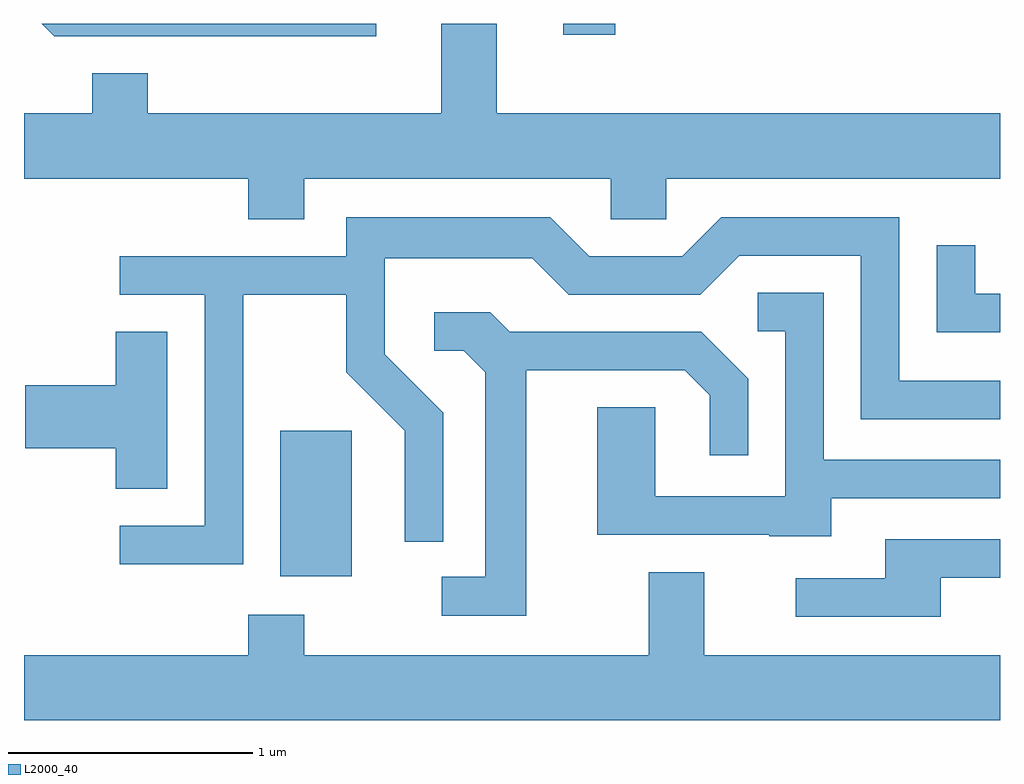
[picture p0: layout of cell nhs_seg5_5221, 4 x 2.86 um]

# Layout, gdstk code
import gdstk
lib = gdstk.Library(unit=1e-6, precision=1e-09)
def R(c, l, rs):  # rectangles x0, y0, x1, y1
    for r in rs: c.add(gdstk.rectangle(r[:2], r[2:], *l))
def P(c, l, *ps):  # polygons
    for p in ps: c.add(gdstk.Polygon(p, *l))
L2000_40 = (2000, 40)

nhs_seg5_5221 = lib.new_cell('nhs_seg5_5221')
R(nhs_seg5_5221, L2000_40, [(340.661,1481.806,340.954,1482.404), (341.821,1484.026,342.034,1484.072)])
P(nhs_seg5_5221, L2000_40, [(340.759,1483.436),(342.016,1483.436),(342.016,1483.271),(342.244,1483.271),(342.244,1483.436),(343.611,1483.436),(343.611,1483.704),(341.549,1483.704),(341.549,1484.072),(341.321,1484.072),(341.321,1483.704),(340.119,1483.704),(340.119,1483.869),(339.891,1483.869),(339.891,1483.704),(339.611,1483.704),(339.611,1483.436),(340.531,1483.436),(340.531,1483.271),(340.759,1483.271)],
  [(341.054,1484.072),(339.683,1484.072),(339.734,1484.021),(341.054,1484.021)],
  [(340.509,1482.961),(340.931,1482.961),(340.931,1482.644),(341.171,1482.404),(341.171,1481.948),(341.329,1481.948),(341.329,1482.477),(341.089,1482.717),(341.089,1483.111),(341.694,1483.111),(341.844,1482.961),(342.382,1482.961),(342.542,1483.121),(343.041,1483.121),(343.041,1482.451),(343.611,1482.451),(343.611,1482.609),(343.199,1482.609),(343.199,1483.279),(342.469,1483.279),(342.309,1483.119),(341.927,1483.119),(341.767,1483.279),(340.931,1483.279),(340.931,1483.119),(340.003,1483.119),(340.003,1482.961),(340.351,1482.961),(340.351,1482.014),(340.003,1482.014),(340.003,1481.856),(340.509,1481.856)],
  [(343.611,1482.964),(343.509,1482.964),(343.509,1483.163),(343.351,1483.163),(343.351,1482.806),(343.611,1482.806)],
  [(342.919,1482.126),(343.611,1482.126),(343.611,1482.284),(342.889,1482.284),(342.889,1482.969),(342.618,1482.969),(342.618,1482.811),(342.731,1482.811),(342.731,1482.134),(342.199,1482.134),(342.199,1482.499),(341.961,1482.499),(341.961,1481.976),(342.665,1481.976),(342.665,1481.971),(342.919,1481.971)],
  [(341.669,1482.651),(342.319,1482.651),(342.421,1482.549),(342.421,1482.303),(342.579,1482.303),(342.579,1482.617),(342.387,1482.809),(341.602,1482.809),(341.522,1482.889),(341.293,1482.889),(341.293,1482.731),(341.414,1482.731),(341.501,1482.644),(341.501,1481.804),(341.323,1481.804),(341.323,1481.646),(341.669,1481.646)],
  [(340.199,1482.809),(339.986,1482.809),(339.986,1482.589),(339.616,1482.589),(339.616,1482.331),(339.986,1482.331),(339.986,1482.166),(340.199,1482.166)],
  [(343.369,1481.801),(343.611,1481.801),(343.611,1481.959),(343.141,1481.959),(343.141,1481.799),(342.773,1481.799),(342.773,1481.641),(343.369,1481.641)],
  [(343.611,1481.484),(342.399,1481.484),(342.399,1481.824),(342.171,1481.824),(342.171,1481.484),(340.759,1481.484),(340.759,1481.649),(340.531,1481.649),(340.531,1481.484),(339.611,1481.484),(339.611,1481.216),(343.611,1481.216)])

lib.write_gds('nhs_seg5_5221.gds')
